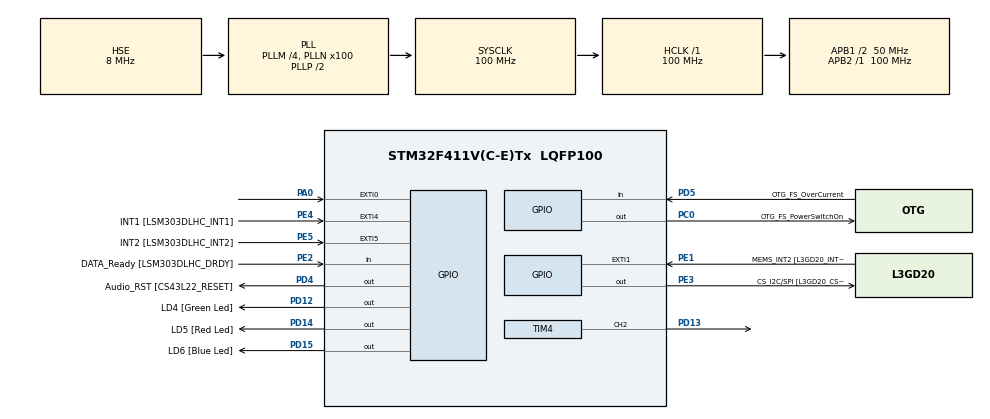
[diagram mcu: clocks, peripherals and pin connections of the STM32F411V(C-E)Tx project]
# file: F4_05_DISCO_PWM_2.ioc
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Mcu.Family=STM32F4
Mcu.Name=STM32F411V(C-E)Tx
Mcu.Package=LQFP100
NVIC.PriorityGroup=NVIC_PRIORITYGROUP_0
PA0-WKUP.GPIO_ModeDefaultEXTI=GPIO_MODE_EVT_RISING
PA0-WKUP.Signal=GPXTI0
PA10.GPIO_Label=OTG_FS_ID
PA10.Signal=USB_OTG_FS_ID
PA11.GPIO_Label=OTG_FS_DM
PA11.Signal=USB_OTG_FS_DM
PA12.GPIO_Label=OTG_FS_DP
PA12.Signal=USB_OTG_FS_DP
PA13.GPIO_Label=SWDIO
PA13.Mode=Serial_Wire
PA13.Signal=SYS_JTMS-SWDIO
PA14.GPIO_Label=SWCLK
PA14.Mode=Serial_Wire
PA14.Signal=SYS_JTCK-SWCLK
PA4.GPIO_Label=I2S3_WS [CS43L22_LRCK]
PA4.GPIO_Mode=GPIO_MODE_AF_PP
PA4.GPIO_PuPd=GPIO_NOPULL
PA4.GPIO_Speed=GPIO_SPEED_FREQ_LOW
PA4.Signal=I2S3_WS
PA5.GPIO_Label=SPI1_SCK [L3GD20_SC/SPC]
PA5.Signal=SPI1_SCK
PA6.GPIO_Label=SPI1_MISO [L3GD20_AS0/SDO]
PA6.Signal=SPI1_MISO
PA7.GPIO_Label=SPI1_MOSI [L3GD20_SDA/SDI/SDO]
PA7.Signal=SPI1_MOSI
PA9.GPIO_Label=VBUS_FS
PA9.Signal=USB_OTG_FS_VBUS
PB10.GPIO_Label=CLK_IN [MP45DT02_CLK]
PB10.Signal=I2S2_CK
PB12.Signal=I2S2_WS
PB3.GPIO_Label=SWO
PB3.Signal=SYS_JTDO-SWO
PB6.GPIO_Label=Audio_SCL [CS43L22_SCL]
PB6.GPIO_Mode=GPIO_MODE_AF_OD
PB6.GPIO_Pu=GPIO_PULLUP
PB6.GPIO_PuPd=GPIO_NOPULL
PB6.GPIO_Speed=GPIO_SPEED_FREQ_LOW
PB6.Signal=I2C1_SCL
PB9.GPIO_Label=Audio_SDA [CS43L22_SDA]
PB9.GPIO_Mode=GPIO_MODE_AF_OD
PB9.GPIO_Pu=GPIO_PULLUP
PB9.GPIO_PuPd=GPIO_NOPULL
PB9.GPIO_Speed=GPIO_SPEED_FREQ_LOW
PB9.Signal=I2C1_SDA
PC0.GPIO_Label=OTG_FS_PowerSwitchOn
PC0.PinState=GPIO_PIN_SET
PC0.Signal=GPIO_Output
PC10.GPIO_Label=I2S3_SCK [CS43L22_SCLK]
PC10.GPIO_Mode=GPIO_MODE_AF_PP
PC10.GPIO_PuPd=GPIO_NOPULL
PC10.GPIO_Speed=GPIO_SPEED_FREQ_LOW
PC10.Signal=I2S3_CK
PC12.GPIO_Label=I2S3_SD [CS43L22_SDIN]
PC12.GPIO_Mode=GPIO_MODE_AF_PP
PC12.GPIO_PuPd=GPIO_NOPULL
PC12.GPIO_Speed=GPIO_SPEED_FREQ_LOW
PC12.Signal=I2S3_SD
PC14-OSC32_IN.GPIO_Label=PC14-OSC32_IN
PC14-OSC32_IN.Signal=RCC_OSC32_IN
PC15-OSC32_OUT.GPIO_Label=PC15-OSC32_OUT
PC15-OSC32_OUT.Signal=RCC_OSC32_OUT
PC3.GPIO_Label=PDM_OUT [MP45DT02_DOUT]
PC3.Signal=I2S2_SD
PC7.GPIO_Label=I2S3_MCK [CS43L22_MCLK]
PC7.GPIO_Mode=GPIO_MODE_AF_PP
PC7.GPIO_PuPd=GPIO_NOPULL
PC7.GPIO_Speed=GPIO_SPEED_FREQ_LOW
PC7.Signal=I2S3_MCK
PD12.GPIO_Label=LD4 [Green Led]
PD12.GPIO_PuPd=GPIO_NOPULL
PD12.GPIO_Speed=GPIO_SPEED_FREQ_LOW
PD12.Signal=GPIO_Output
PD13.Signal=S_TIM4_CH2
PD14.GPIO_Label=LD5 [Red Led]
PD14.GPIO_PuPd=GPIO_NOPULL
PD14.GPIO_Speed=GPIO_SPEED_FREQ_LOW
PD14.Signal=GPIO_Output
PD15.GPIO_Label=LD6 [Blue Led]
PD15.GPIO_PuPd=GPIO_NOPULL
PD15.GPIO_Speed=GPIO_SPEED_FREQ_LOW
PD15.Signal=GPIO_Output
PD4.GPIO_Label=Audio_RST [CS43L22_RESET]
PD4.Signal=GPIO_Output
PD5.GPIO_Label=OTG_FS_OverCurrent
PD5.Signal=GPIO_Input
PE1.GPIO_Label=MEMS_INT2 [L3GD20_INT2]
PE1.GPIO_ModeDefaultEXTI=GPIO_MODE_EVT_RISING
PE1.Signal=GPXTI1
PE2.GPIO_Label=DATA_Ready [LSM303DLHC_DRDY]
PE2.Signal=GPIO_Input
PE3.GPIO_Label=CS_I2C/SPI [L3GD20_CS_I2C/SPI]
PE3.Signal=GPIO_Output
PE4.GPIO_Label=INT1 [LSM303DLHC_INT1]
PE4.GPIO_ModeDefaultEXTI=GPIO_MODE_EVT_RISING
PE4.Signal=GPXTI4
PE5.GPIO_Label=INT2 [LSM303DLHC_INT2]
PE5.GPIO_ModeDefaultEXTI=GPIO_MODE_EVT_RISING
PE5.Signal=GPXTI5
PH0\ -\ OSC_IN.GPIO_Label=PH0-OSC_IN
PH0\ -\ OSC_IN.Mode=HSE-External-Oscillator
PH0\ -\ OSC_IN.Signal=RCC_OSC_IN
PH1\ -\ OSC_OUT.GPIO_Label=PH1-OSC_OUT
PH1\ -\ OSC_OUT.Mode=HSE-External-Oscillator
PH1\ -\ OSC_OUT.Signal=RCC_OSC_OUT
ProjectManager.HeapSize=0x200
ProjectManager.StackSize=0x400
ProjectManager.TargetToolchain=STM32CubeIDE
RCC.48MHZClocksFreq_Value=25000000
RCC.AHBFreq_Value=100000000
RCC.APB1CLKDivider=RCC_HCLK_DIV2
RCC.APB1Freq_Value=50000000
RCC.APB1TimFreq_Value=100000000
RCC.APB2Freq_Value=100000000
RCC.APB2TimFreq_Value=100000000
RCC.CortexFreq_Value=100000000
RCC.HCLKFreq_Value=100000000
RCC.HSE_VALUE=8000000
RCC.HSI_VALUE=16000000
RCC.PLLI2SM=5
RCC.PLLI2SN=200
RCC.PLLM=4
RCC.PLLN=100
RCC.PLLQ=8
RCC.PLLSourceVirtual=RCC_PLLSOURCE_HSE
RCC.SYSCLKFreq_VALUE=100000000
RCC.SYSCLKSource=RCC_SYSCLKSOURCE_PLLCLK
RCC.VCOOutputFreq_Value=200000000
SH.S_TIM4_CH2.0=TIM4_CH2,PWM Generation2 CH2
TIM4.Channel-PWM\ Generation2\ CH2=TIM_CHANNEL_2
TIM4.Period=99
TIM4.Prescaler=4999
VP_TIM4_VS_ClockSourceINT.Mode=Internal
board=STM32F411E-DISCO

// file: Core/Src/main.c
/* USER CODE BEGIN Header */
/**
  ******************************************************************************
  * @file           : main.c
  * @brief          : Main program body
  ******************************************************************************
  * @attention
  *
  * Copyright (c) 2023 STMicroelectronics.
  * All rights reserved.
  *
  * This software is licensed under terms that can be found in the LICENSE file
  * in the root directory of this software component.
  * If no LICENSE file comes with this software, it is provided AS-IS.
  *
  ******************************************************************************
  */
/* USER CODE END Header */
#include "main.h"
#include "tim.h"
#include "gpio.h"

/* USER CODE BEGIN Includes */
#include <stdbool.h>
/* USER CODE END Includes */

/* USER CODE BEGIN PD */
#define INCREASING_TIME 2		// [s]
#define DECREASING_TIME 4		// [s]
#define DUTY_INCREMENTATION 100 // times
/* USER CODE END PD */

/* USER CODE BEGIN PV */
uint16_t interrupts_increase;
uint16_t interrupts_decrease;
uint8_t InterruptPrescaler = 0;
volatile bool IsIncreasing = true;
uint32_t Duty = 0;
/* USER CODE END PV */

void SystemClock_Config(void);
/* USER CODE BEGIN PFP */
void HAL_SYSTICK_Callback(void);
/* USER CODE END PFP */

int main(void)
{
  /* USER CODE BEGIN 1 */
	interrupts_increase = (uint16_t) (1000 * INCREASING_TIME) / DUTY_INCREMENTATION;
	interrupts_decrease = (uint16_t) (1000 * DECREASING_TIME) / DUTY_INCREMENTATION;
  /* USER CODE END 1 */

  /* MCU Configuration--------------------------------------------------------*/

  /* Reset of all peripherals, Initializes the Flash interface and the Systick. */
  HAL_Init();

  /* Configure the system clock */
  SystemClock_Config();

  /* Initialize all configured peripherals */
  MX_GPIO_Init();
  MX_TIM4_Init();
  /* USER CODE BEGIN 2 */
  HAL_TIM_PWM_Start(&htim4, TIM_CHANNEL_2);
  /* USER CODE END 2 */

  /* Infinite loop */
  while (1)
  {

  }
}

void SystemClock_Config(void)
{
  RCC_OscInitTypeDef RCC_OscInitStruct = {0};
  RCC_ClkInitTypeDef RCC_ClkInitStruct = {0};

  /** Configure the main internal regulator output voltage
  */
  __HAL_RCC_PWR_CLK_ENABLE();
  __HAL_PWR_VOLTAGESCALING_CONFIG(PWR_REGULATOR_VOLTAGE_SCALE1);

  /** Initializes the RCC Oscillators according to the specified parameters
  * in the RCC_OscInitTypeDef structure.
  */
  RCC_OscInitStruct.OscillatorType = RCC_OSCILLATORTYPE_HSE;
  RCC_OscInitStruct.HSEState = RCC_HSE_ON;
  RCC_OscInitStruct.PLL.PLLState = RCC_PLL_ON;
  RCC_OscInitStruct.PLL.PLLSource = RCC_PLLSOURCE_HSE;
  RCC_OscInitStruct.PLL.PLLM = 4;
  RCC_OscInitStruct.PLL.PLLN = 100;
  RCC_OscInitStruct.PLL.PLLP = RCC_PLLP_DIV2;
  RCC_OscInitStruct.PLL.PLLQ = 8;
  if (HAL_RCC_OscConfig(&RCC_OscInitStruct) != HAL_OK)
  {
    Error_Handler();
  }

  /** Initializes the CPU, AHB and APB buses clocks
  */
  RCC_ClkInitStruct.ClockType = RCC_CLOCKTYPE_HCLK|RCC_CLOCKTYPE_SYSCLK
                              |RCC_CLOCKTYPE_PCLK1|RCC_CLOCKTYPE_PCLK2;
  RCC_ClkInitStruct.SYSCLKSource = RCC_SYSCLKSOURCE_PLLCLK;
  RCC_ClkInitStruct.AHBCLKDivider = RCC_SYSCLK_DIV1;
  RCC_ClkInitStruct.APB1CLKDivider = RCC_HCLK_DIV2;
  RCC_ClkInitStruct.APB2CLKDivider = RCC_HCLK_DIV1;

  if (HAL_RCC_ClockConfig(&RCC_ClkInitStruct, FLASH_LATENCY_3) != HAL_OK)
  {
    Error_Handler();
  }
}

/* USER CODE BEGIN 4 */
void HAL_SYSTICK_Callback(void)
{
	InterruptPrescaler++;

	if (IsIncreasing && interrupts_increase == InterruptPrescaler)
	{
		InterruptPrescaler = 0;
		if (100 == ++Duty)
		{
			IsIncreasing = false;
		}
	}

	if (!IsIncreasing && interrupts_decrease == InterruptPrescaler)
	{
		InterruptPrescaler = 0;
		if (0 == --Duty)
		{
			IsIncreasing = true;
		}
	}
	TIM4->CCR2 = Duty;
}
/* USER CODE END 4 */

void Error_Handler(void)
{
  __disable_irq();
  while (1)
  {
  }
}
